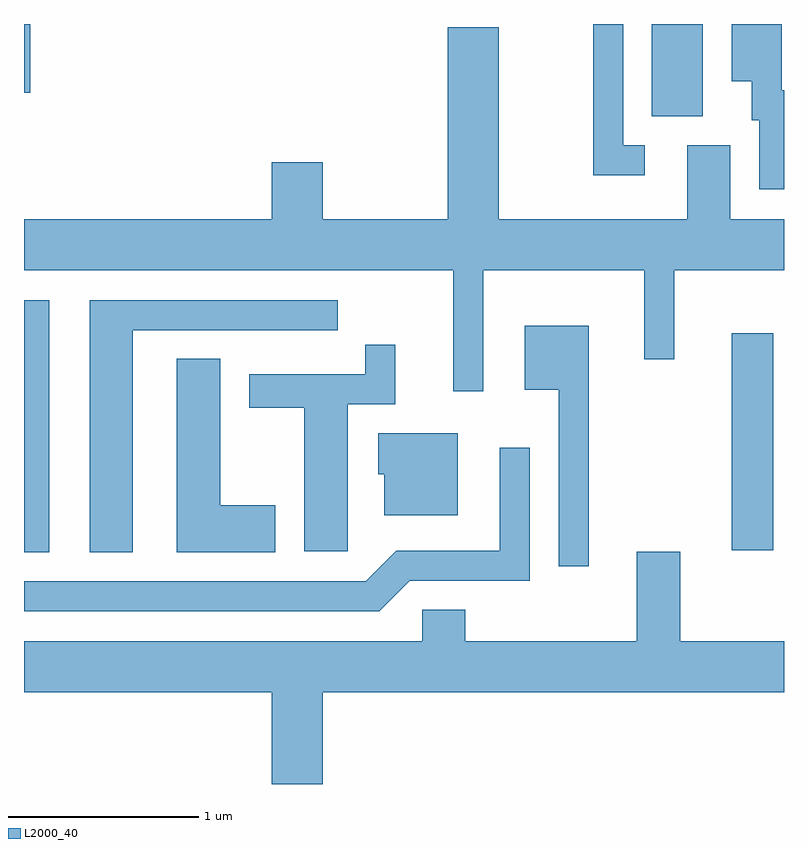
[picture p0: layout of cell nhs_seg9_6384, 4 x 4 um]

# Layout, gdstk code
import gdstk
lib = gdstk.Library(unit=1e-6, precision=1e-09)
def R(c, l, rs):  # rectangles x0, y0, x1, y1
    for r in rs: c.add(gdstk.rectangle(r[:2], r[2:], *l))
def P(c, l, *ps):  # polygons
    for p in ps: c.add(gdstk.Polygon(p, *l))
L2000_40 = (2000, 40)

nhs_seg9_6384 = lib.new_cell('nhs_seg9_6384')
R(nhs_seg9_6384, L2000_40, [(373.611,2003.651,373.744,2004.979), (377.336,2003.661,377.554,2004.804), (376.916,2005.946,377.184,2006.432), (373.611,2006.071,373.644,2006.432)])
P(nhs_seg9_6384, L2000_40, [(376.878,2005.794),(376.764,2005.794),(376.764,2006.432),(376.606,2006.432),(376.606,2005.636),(376.878,2005.636)],
  [(377.611,2006.084),(377.599,2006.084),(377.599,2006.432),(377.336,2006.432),(377.336,2006.131),(377.441,2006.131),(377.441,2005.926),(377.481,2005.926),(377.481,2005.561),(377.611,2005.561)],
  [(376.029,2005.136),(376.876,2005.136),(376.876,2004.668),(377.034,2004.668),(377.034,2005.136),(377.611,2005.136),(377.611,2005.404),(377.329,2005.404),(377.329,2005.794),(377.101,2005.794),(377.101,2005.404),(376.109,2005.404),(376.109,2006.414),(375.841,2006.414),(375.841,2005.404),(375.184,2005.404),(375.184,2005.704),(374.916,2005.704),(374.916,2005.404),(373.611,2005.404),(373.611,2005.136),(375.871,2005.136),(375.871,2004.498),(376.029,2004.498)],
  [(374.184,2004.821),(375.263,2004.821),(375.263,2004.979),(373.956,2004.979),(373.956,2003.651),(374.184,2003.651)],
  [(376.584,2004.844),(376.246,2004.844),(376.246,2004.506),(376.426,2004.506),(376.426,2003.578),(376.584,2003.578)],
  [(375.314,2004.431),(375.564,2004.431),(375.564,2004.743),(375.406,2004.743),(375.406,2004.589),(374.796,2004.589),(374.796,2004.411),(375.086,2004.411),(375.086,2003.656),(375.314,2003.656)],
  [(374.934,2003.899),(374.644,2003.899),(374.644,2004.669),(374.416,2004.669),(374.416,2003.651),(374.934,2003.651)],
  [(375.894,2004.279),(375.476,2004.279),(375.476,2004.061),(375.506,2004.061),(375.506,2003.846),(375.894,2003.846)],
  [(375.642,2003.501),(376.274,2003.501),(376.274,2004.203),(376.116,2004.203),(376.116,2003.659),(375.569,2003.659),(375.409,2003.499),(373.611,2003.499),(373.611,2003.341),(375.482,2003.341)],
  [(375.184,2002.916),(377.611,2002.916),(377.611,2003.184),(377.064,2003.184),(377.064,2003.654),(376.836,2003.654),(376.836,2003.184),(375.934,2003.184),(375.934,2003.349),(375.706,2003.349),(375.706,2003.184),(373.611,2003.184),(373.611,2002.916),(374.916,2002.916),(374.916,2002.432),(375.184,2002.432)])

lib.write_gds('nhs_seg9_6384.gds')
